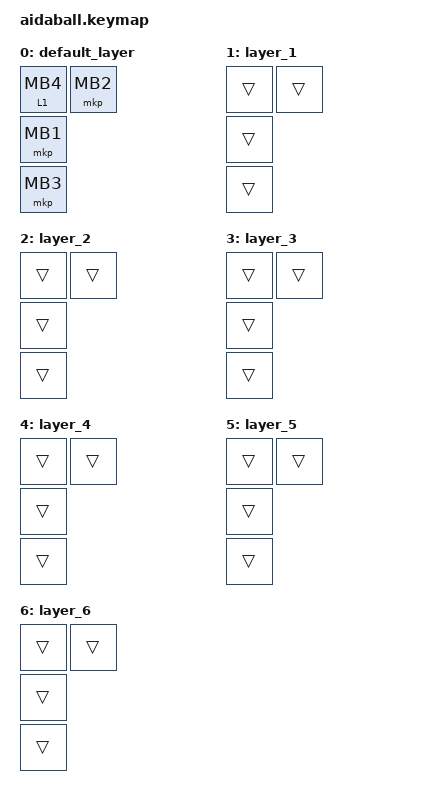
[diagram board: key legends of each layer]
#include <input/processors.dtsi>
#include <dt-bindings/zmk/input_transform.h>
#include <zephyr/dt-bindings/input/input-event-codes.h>
#include <behaviors.dtsi>
#include <dt-bindings/zmk/bt.h>
#include <dt-bindings/zmk/keys.h>
#include <dt-bindings/zmk/pointing.h>

#define ZMK_POINTING_DEFAULT_SCRL_VAL 100
#define MOUSE 0

&mt {
    flavor = "balanced";
    quick-tap-ms = <0>;
};

/ {
    behaviors {
        lt_mkp: lt_mkp {
            compatible = "zmk,behavior-hold-tap";
            label = "LT_MKP";
            bindings = <&mo>, <&mkp>;
            #binding-cells = <2>;
            tapping-term-ms = <200>;
        };
    };
    
    keymap {
        compatible = "zmk,keymap";

        default_layer {
            bindings = <
                &lt_mkp 1 MB4   &mkp MB2
                &mkp MB1        &mkp MB3 
            >;
        };

        layer_1 {
            bindings = <
                &trans  &trans
                &trans  &trans
            >;
        };

        layer_2 {
            bindings = <
                &trans  &trans
                &trans  &trans
            >;
        };

        layer_3 {
            bindings = <
                &trans  &trans
                &trans  &trans
            >;
        };

        layer_4 {
            bindings = <
                &trans  &trans
                &trans  &trans
            >;
        };

        layer_5 {
            bindings = <
                &trans  &trans
                &trans  &trans
            >;
        };

        layer_6 {
            bindings = <
                &trans  &trans
                &trans  &trans
            >;
        };


    // //ユーザがinput-processorsを変更したい場合はここに書く
    // &trackball_listener {
    //     input-processors =
    //         <&zip_xy_transform INPUT_TRANSFORM_XY_SWAP>,
    //         <&zip_temp_layer 3 500>;
    // };
    };
};
